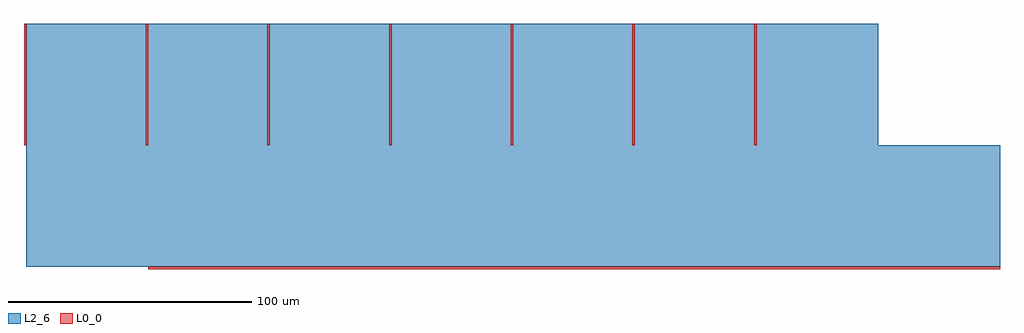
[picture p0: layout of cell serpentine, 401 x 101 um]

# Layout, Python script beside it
import gdspy

# Parse the user's design specifications
path_width = 1  # µm
num_turns = 15
segment_length = 50  # µm
start_position = (0, 0)
layer = 2
datatype = 6

# Define the library and cell for the GDS layout
lib = gdspy.GdsLibrary()
cell = lib.new_cell('serpentine')

# Create the serpentine pattern
for i in range(num_turns):
    # Calculate the x and y coordinates for this segment
    if i % 2 == 0:
        x = start_position[0] + (i // 2) * segment_length
        y = start_position[1]
    else:
        x = start_position[0] + ((i - 1) // 2) * segment_length
        y = start_position[1] + segment_length
    
    # Create a rectangle for this segment
    rect = gdspy.Rectangle((x, y), (x + segment_length, y + segment_length), layer=layer, datatype=datatype)
    
    # If this is not the first segment, connect it to the previous one
    if i > 0:
        if i % 2 == 0:
            rect_start = (x, y - path_width / 2)
            rect_end = (x + path_width, y - path_width / 2)
        else:
            rect_start = (x - path_width / 2, y)
            rect_end = (x - path_width / 2, y + path_width)
        path = gdspy.Path(path_width, rect_start)
        path.segment(segment_length, '+x' if i % 2 == 0 else '+y')
        cell.add(path)
    
    # Add this segment to the cell
    cell.add(rect)

# Save the design to a GDS file
lib.write_gds('serpentine.gds')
